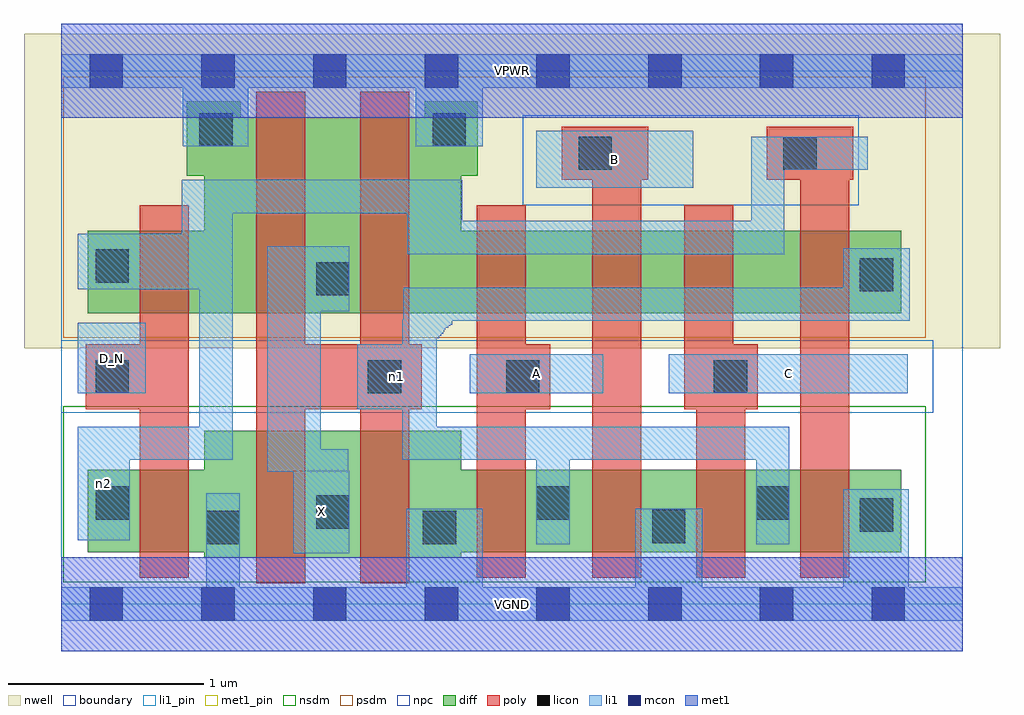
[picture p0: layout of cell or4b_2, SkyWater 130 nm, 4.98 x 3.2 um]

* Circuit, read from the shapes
.subckt or4b_2 A B C D_N VGND VPWR X n1 n2
XM1 VGND D_N n2 VSUBS sky130_fd_pr__nfet_01v8 w=0.42 l=0.25
XM2 X n1 VGND VSUBS sky130_fd_pr__nfet_01v8 w=0.65 l=0.25 m=2
XM3 n1 A VGND VSUBS sky130_fd_pr__nfet_01v8 w=0.42 l=0.25
XM4 VGND B n1 VSUBS sky130_fd_pr__nfet_01v8 w=0.42 l=0.25
XM5 n1 C VGND VSUBS sky130_fd_pr__nfet_01v8 w=0.42 l=0.25
XM6 VGND n2 n1 VSUBS sky130_fd_pr__nfet_01v8 w=0.42 l=0.25
XM7 VPWR D_N n2 n3 sky130_fd_pr__pfet_01v8 w=0.42 l=0.25
XM8 X n1 VPWR n3 sky130_fd_pr__pfet_01v8 w=1 l=0.25 m=2
XM9 n4 A VPWR n3 sky130_fd_pr__pfet_01v8 w=0.42 l=0.25
XM10 n5 B n4 n3 sky130_fd_pr__pfet_01v8 w=0.42 l=0.25
XM11 n6 C n5 n3 sky130_fd_pr__pfet_01v8 w=0.42 l=0.25
XM12 n1 n2 n6 n3 sky130_fd_pr__pfet_01v8 w=0.42 l=0.25
.ends

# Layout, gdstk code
import gdstk
lib = gdstk.Library(unit=1e-6, precision=1e-09)
def R(c, l, rs):  # rectangles x0, y0, x1, y1
    for r in rs: c.add(gdstk.rectangle(r[:2], r[2:], *l))
def A(c, l, x, y, w, h, nx, ny, dx, dy):  # array of equal rectangles
    R(c, l, [(x+i*dx, y+j*dy, x+i*dx+w, y+j*dy+h) for i in range(nx) for j in range(ny)])
nwell = (64, 20)
diff = (65, 20)
poly = (66, 20)
licon = (66, 44)
li1_pin = (67, 16)
li1 = (67, 20)
mcon = (67, 44)
met1_pin = (68, 16)
met1 = (68, 20)
nsdm = (93, 44)
psdm = (94, 20)
npc = (95, 20)
boundary = (235, 4)

or4b_2 = lib.new_cell('or4b_2')
R(or4b_2, nwell, [(-0.19,1.305,4.79,2.91), (0,1.305,4.6,2.91)])
R(or4b_2, diff, [(0.73,0.235,2.04,0.885), (0.135,0.265,4.285,0.685), (0.135,1.485,4.285,1.905), (0.73,1.485,2.04,2.485), (0.64,2.185,2.125,2.485), (0.64,2.185,0.915,2.565), (1.855,2.185,2.125,2.565)])
R(or4b_2, poly, [(0.995,0.105,1.245,2.615), (1.525,0.105,1.775,2.615), (0.4,0.135,0.65,2.035), (2.12,0.135,2.37,2.035), (2.71,0.135,2.96,2.435), (3.24,0.135,3.49,1.325), (3.77,0.135,4.02,2.435), (0.125,0.995,0.65,1.325), (0.995,0.995,1.84,1.325), (2.12,0.995,2.495,1.325), (3.18,0.995,3.555,1.325), (3.18,0.995,3.43,2.035), (2.555,2.165,2.995,2.435), (3.6,2.165,4.04,2.435)])
R(or4b_2, licon, [(0.74,0.305,0.91,0.475), (1.845,0.305,2.015,0.475), (3.015,0.31,3.185,0.48), (4.075,0.37,4.245,0.54), (1.3,0.385,1.47,0.555), (0.175,0.43,0.345,0.6), (2.425,0.43,2.595,0.6), (3.545,0.43,3.715,0.6), (0.175,1.075,0.345,1.245), (1.565,1.075,1.735,1.245), (2.27,1.075,2.44,1.245), (3.33,1.075,3.5,1.245), (1.3,1.575,1.47,1.745), (4.075,1.595,4.245,1.765), (0.175,1.64,0.345,1.81), (2.64,2.215,2.81,2.385), (3.685,2.215,3.855,2.385), (0.705,2.335,0.875,2.505), (1.895,2.335,2.065,2.505)])
R(or4b_2, li1_pin, [(1.185,0.26,1.47,0.68), (0.085,1.075,0.43,1.435), (2.085,1.075,2.765,1.275), (3.1,1.075,4.32,1.275), (2.425,2.125,3.225,2.415)])
R(or4b_2, li1, [(0,-0.085,4.6,0.085), (0.74,-0.085,0.91,0.565), (1.76,-0.085,2.15,0.485), (2.93,-0.085,3.27,0.485), (3.99,-0.085,4.325,0.585), (1.185,0.26,1.47,0.68), (2.425,0.305,2.595,0.905), (3.545,0.305,3.715,0.905), (0.085,0.325,0.35,0.905), (1.05,0.675,1.325,1.825), (1.05,0.675,1.465,0.79), (0.085,0.735,0.875,0.905), (0.705,0.735,0.875,2.165), (1.74,0.735,3.715,0.905), (1.74,0.735,1.915,1.45), (1.51,0.995,1.915,1.325), (0.085,1.075,0.43,1.435), (2.085,1.075,2.765,1.275), (3.1,1.075,4.32,1.275), (1.745,1.355,1.93,1.615), (1.745,1.37,1.94,1.615), (1.745,1.38,1.95,1.615), (1.745,1.39,1.955,1.615), (1.745,1.4,1.96,1.615), (1.745,1.41,1.975,1.615), (1.745,1.42,1.985,1.615), (1.745,1.425,1.995,1.615), (1.745,1.445,4.33,1.615), (3.99,1.445,4.33,1.815), (1.05,1.495,1.47,1.825), (0.085,1.605,0.875,1.89), (0.615,1.605,0.875,2.165), (1.765,1.785,3.69,1.955), (1.765,1.785,2.045,2.165), (3.52,1.785,3.69,2.385), (0.615,1.995,2.045,2.165), (2.425,2.125,3.225,2.415), (3.52,2.215,4.115,2.385), (0.62,2.335,0.955,2.805), (1.81,2.335,2.15,2.805), (0,2.635,4.6,2.805)])
A(or4b_2, mcon, 0.145, -0.085, 0.17, 0.17, 8, 2, 0.57, 2.72)
R(or4b_2, met1_pin, [(0,-0.24,4.6,0.24), (0,2.48,4.6,2.96)])
R(or4b_2, met1, [(0,-0.24,4.6,0.24), (0,2.48,4.6,2.96)])
R(or4b_2, nsdm, [(0.01,0.11,4.41,1.01)])
R(or4b_2, psdm, [(0.01,1.36,4.41,2.69)])
R(or4b_2, npc, [(0,0.975,4.45,1.345), (2.355,2.035,4.07,2.495)])
R(or4b_2, boundary, [(0,0,4.6,2.72)])
or4b_2.add(gdstk.Label('A', (2.425,1.175), layer=67, texttype=5))
or4b_2.add(gdstk.Label('B', (2.825,2.27), layer=67, texttype=5))
or4b_2.add(gdstk.Label('C', (3.71,1.175), layer=67, texttype=5))
or4b_2.add(gdstk.Label('D_N', (0.257,1.255), layer=67, texttype=5))
or4b_2.add(gdstk.Label('X', (1.327,0.47), layer=67, texttype=5))
or4b_2.add(gdstk.Label('n1', (1.712,1.16), layer=67, texttype=5))
or4b_2.add(gdstk.Label('n2', (0.217,0.615), layer=67, texttype=5))
or4b_2.add(gdstk.Label('VPWR', (2.3,2.72), layer=68, texttype=5))
or4b_2.add(gdstk.Label('VGND', (2.3,0), layer=68, texttype=5))
or4b_2.add(gdstk.Label('A', (2.425,1.175), layer=67, texttype=16))
or4b_2.add(gdstk.Label('B', (2.825,2.27), layer=67, texttype=16))
or4b_2.add(gdstk.Label('C', (3.71,1.175), layer=67, texttype=16))
or4b_2.add(gdstk.Label('D_N', (0.257,1.255), layer=67, texttype=16))
or4b_2.add(gdstk.Label('X', (1.327,0.47), layer=67, texttype=16))
or4b_2.add(gdstk.Label('VPWR', (2.3,2.72), layer=68, texttype=16))
or4b_2.add(gdstk.Label('VGND', (2.3,0), layer=68, texttype=16))

lib.write_gds('or4b_2.gds')
